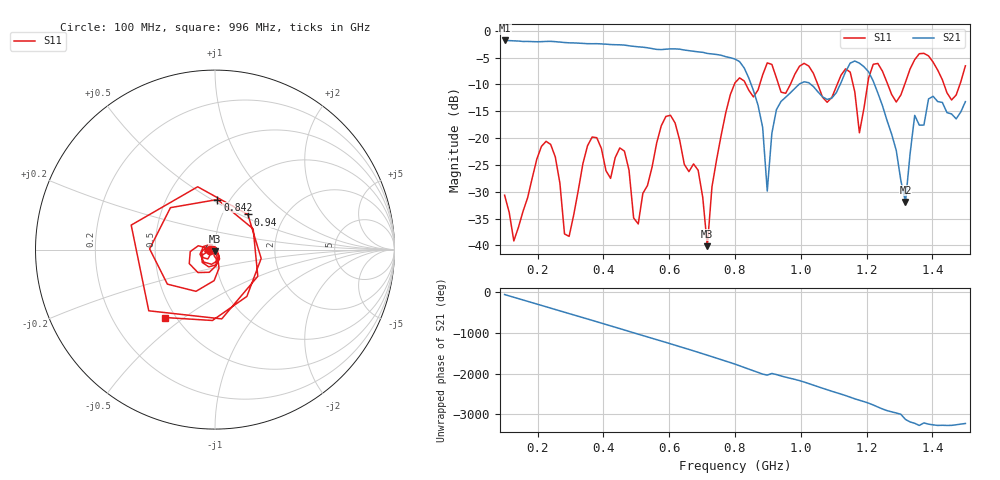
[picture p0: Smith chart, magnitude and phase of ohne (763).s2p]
! NanoVNA-App
! Date: 2025-09-25 14:26:44
! Start: 100MHz Stop: 1,5GHz Points: 101
! S-Parameter data: F S11 S21 S12 S22
# Hz S RI R 50
!  Frequency  S11_Real  S11_Imag  S21_Real  S21_Imag  S12_Real  S12_Imag  S22_Real  S22_Imag
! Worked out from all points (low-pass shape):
!   101 points, 100 MHz to 1.5 GHz, reference 50 ohm
!   highest |S21| = -1.79 dB at 100 MHz (marker M1); lowest = -31.9 dB at 1.318 GHz (marker M2)
!   |S21| within 3 dB of the highest: start of sweep to 770.7 MHz
!   lowest |S11| = -40.1 dB at 716 MHz (marker M3), VSWR 1.02, Z = 49.8 - j0.951 ohm
!   |S11| at or under -10 dB: start of sweep to 798 MHz; 833.3 MHz to 875.1 MHz (41.84 MHz wide, 4.9 % of centre); 1.052 GHz to 1.11 GHz (58.86 MHz wide, 5.44 % of centre) (the widest 3 of 7)
!   S12 and S22 are empty: the file has one direction only
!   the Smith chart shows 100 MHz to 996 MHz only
!   S11 on the Smith chart (normalised r, x): 100 MHz: 0.94, -0.01; 842 MHz: 0.88, +0.53; 940 MHz: 1.31, +0.56; 996 MHz: 0.44, -0.43
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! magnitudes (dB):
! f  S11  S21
! 100 MHz  -30.6  -1.8
! 128 MHz  -39.2  -1.9
! 226 MHz  -20.6  -2.0
! 296 MHz  -38.3  -2.2
! 338 MHz  -24.7  -2.3
! 464 MHz  -22.4  -2.7
! 506 MHz  -36.0  -3.0
! 576 MHz  -17.7  -3.5
! 688 MHz  -26.0  -3.9
! 716 MHz  -40.1  -4.2
! 800 MHz  -9.7  -5.3
! 842 MHz  -11.1  -8.8
! 898 MHz  -6.0  -29.9
! 940 MHz  -11.4  -13.1
! 996 MHz  -6.6  -9.9
! 1.038 GHz  -7.9  -10.4
! 1.178 GHz  -19.0  -6.0
! 1.22 GHz  -6.2  -9.4
! 1.276 GHz  -11.9  -19.3
! 1.318 GHz  -9.6  -31.9
! 1.346 GHz  -5.4  -15.8
! 1.5 GHz  -6.5  -13.2
